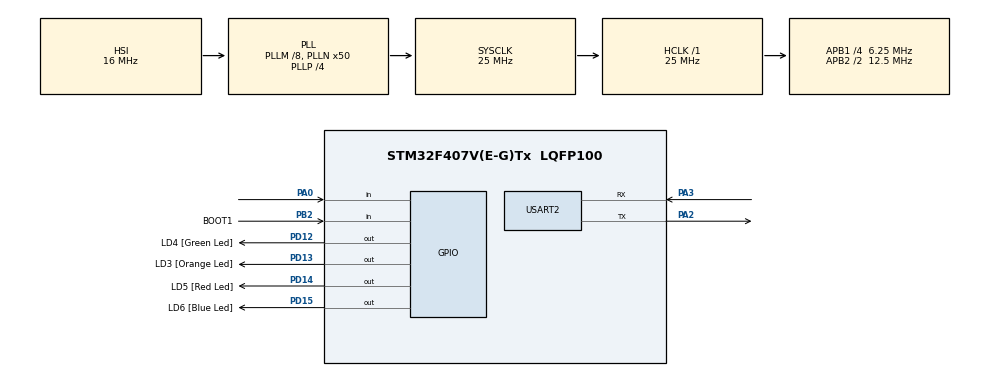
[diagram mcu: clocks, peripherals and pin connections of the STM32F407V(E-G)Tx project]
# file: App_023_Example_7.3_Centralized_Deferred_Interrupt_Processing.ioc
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Mcu.Family=STM32F4
Mcu.Name=STM32F407V(E-G)Tx
Mcu.Package=LQFP100
NVIC.PriorityGroup=NVIC_PRIORITYGROUP_4
NVIC.TIM3_IRQn=true\:6\:0\:true\:false\:true\:true\:true\:true
NVIC.TIM6_DAC_IRQn=true\:0\:0\:false\:false\:true\:false\:true\:true
NVIC.TimeBase=TIM6_DAC_IRQn
NVIC.TimeBaseIP=TIM6
PA0-WKUP.Signal=GPIO_Input
PA13.GPIO_Label=SWDIO
PA13.Signal=SYS_JTMS-SWDIO
PA14.GPIO_Label=SWCLK
PA14.Signal=SYS_JTCK-SWCLK
PA2.Mode=Asynchronous
PA2.Signal=USART2_TX
PA3.Mode=Asynchronous
PA3.Signal=USART2_RX
PB2.GPIO_Label=BOOT1
PB2.GPIO_Mode=GPIO_MODE_INPUT
PB2.GPIO_PuPd=GPIO_NOPULL
PB2.Signal=GPIO_Input
PB3.GPIO_Label=SWO
PB3.Signal=SYS_JTDO-SWO
PC7.GPIO_Label=I2S3_MCK [CS43L22_MCLK]
PC7.GPIO_Mode=GPIO_MODE_AF_PP
PC7.GPIO_PuPd=GPIO_NOPULL
PC7.GPIO_Speed=GPIO_SPEED_FREQ_LOW
PC7.Signal=I2S3_MCK
PD12.GPIO_Label=LD4 [Green Led]
PD12.GPIO_PuPd=GPIO_NOPULL
PD12.GPIO_Speed=GPIO_SPEED_FREQ_LOW
PD12.Signal=GPIO_Output
PD13.GPIO_Label=LD3 [Orange Led]
PD13.GPIO_PuPd=GPIO_NOPULL
PD13.GPIO_Speed=GPIO_SPEED_FREQ_LOW
PD13.Signal=GPIO_Output
PD14.GPIO_Label=LD5 [Red Led]
PD14.GPIO_PuPd=GPIO_NOPULL
PD14.GPIO_Speed=GPIO_SPEED_FREQ_LOW
PD14.Signal=GPIO_Output
PD15.GPIO_Label=LD6 [Blue Led]
PD15.GPIO_PuPd=GPIO_NOPULL
PD15.GPIO_Speed=GPIO_SPEED_FREQ_LOW
PD15.Signal=GPIO_Output
ProjectManager.HeapSize=0x200
ProjectManager.StackSize=0x400
ProjectManager.TargetToolchain=STM32CubeIDE
RCC.48MHZClocksFreq_Value=14285714.285714285
RCC.AHBFreq_Value=25000000
RCC.APB1CLKDivider=RCC_HCLK_DIV4
RCC.APB1Freq_Value=6250000
RCC.APB1TimFreq_Value=12500000
RCC.APB2CLKDivider=RCC_HCLK_DIV2
RCC.APB2Freq_Value=12500000
RCC.APB2TimFreq_Value=25000000
RCC.CortexFreq_Value=25000000
RCC.HCLKFreq_Value=25000000
RCC.HSE_VALUE=8000000
RCC.HSI_VALUE=16000000
RCC.LSE_VALUE=32768
RCC.PLLM=8
RCC.PLLN=50
RCC.PLLP=RCC_PLLP_DIV4
RCC.PLLQ=7
RCC.SYSCLKFreq_VALUE=25000000
RCC.SYSCLKSource=RCC_SYSCLKSOURCE_PLLCLK
RCC.VCOOutputFreq_Value=100000000
TIM3.AutoReloadPreload=TIM_AUTORELOAD_PRELOAD_ENABLE
TIM3.Period=499
TIM3.Prescaler=12499
USART2.VirtualMode=VM_ASYNC
VP_SYS_VS_tim6.Mode=TIM6
VP_TIM3_VS_ClockSourceINT.Mode=Internal
board=STM32F407G-DISC1

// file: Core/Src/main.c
/* USER CODE BEGIN Header */
/**
  ******************************************************************************
  * @file           : main.c
  * @brief          : Main program body
  ******************************************************************************
  * @attention
  *
  * Copyright (c) 2024 STMicroelectronics.
  * All rights reserved.
  *
  * This software is licensed under terms that can be found in the LICENSE file
  * in the root directory of this software component.
  * If no LICENSE file comes with this software, it is provided AS-IS.
  *
  *
  ******************************************************************************
  */

/**
 * @author  Julio Cesar Bernal Mendez
 * @brief   This is the "Example 7.3 Centralized deferred interrupt processing"
 *          from the Mastering the FreeRTOS Real Time Kernel v1.0 book.
 *
 *          This example provides similar funcionality to examples 7.1, but without using a
 *          semaphore and without creating a task specifically to perform the processcing
 *          necessitated by the interrupt. Instead, the processing is performed by the
 *          RTOS daemon task.
 *
 *          The interrupt callback (HAL_TIM_PeriodElapsedCallback) when called by TIM3 calls
 *          xTimerPendFunctionCallFromISR() to pass a pointer to a function called
 *          vDeferredHandlingFunction() to the daemon task.
 *
 *          The callback increments a variable called ulParameterValue each time it executes and
 *          is used as the value of ulParameter2 in the call to xTimerPendFunctionCallFromISR(),
 *          so it will also be used as the value of ulParameter2 in the call to vDeferredHandlingFunction()
 *          when vDeferredHandlingFunction() is executed by the daemon task. The function's other
 *          parameter, pvParameter1, is not used in this example.
 *
 *          The main() function is simpler that the one used by Example 7.1 because it does not create
 *          either a semaphore or a task to perform the deferred interrupt processing.
 *          Only one task is created to start the TIM3 as timeout interrupt, but it only executes once
 *          and deletes itself.
 *          TIM3 starts after the scheduler starts because otherwise the TIM3 timeout interrupt could
 *          execute and call xTimerPendFunctionCallFromISR(), causing an assert to place the program
 *          in an infinite for loop due to the timer queue not being properly created beforehand.
 *
 *          NOTES: - the priority of the interrupt cannot be higher than the configLIBRARY_MAX_SYSCALL_INTERRUPT_PRIORITY
 *                   symbolic constant. In the context of STM32 microcontrollers this can be confusing as
 *                   a higher numeric value means a lower priority. In other words the numeric value of the
 *                   interrupt cannot be lower (higher priority) than configLIBRARY_MAX_SYSCALL_INTERRUPT_PRIORITY and
 *                   not the other way around as one may think.
 *                 - The interrupt controller (NVIC) allows the bits that define each interrupt's
 *                   priority to be split between bits that define the interrupt's pre-emption priority
 *                   bits and bits that define the interrupt's sub-priority. For simplicity all bits
 *                   must be defined to be pre-emption priority bits. If this is not the case then
 *                   an assertion will fail causing the program to get stuck inside an infinite loop.
 *                   (refer to "configASSERT( ( portAIRCR_REG & portPRIORITY_GROUP_MASK ) <= ulMaxPRIGROUPValue )"
 *                   in port.c)
 *
 * @version 0.1
 * @date    2024-11-15
 *
 */
/* USER CODE END Header */
#include "main.h"

/* USER CODE BEGIN Includes */
#include <stdio.h>
#include "FreeRTOS.h"
#include "task.h"
#include "timers.h"
/* USER CODE END Includes */

/* USER CODE BEGIN PD */
#define STRING_SIZE    (50)
/* USER CODE END PD */

TIM_HandleTypeDef htim3;

UART_HandleTypeDef huart2;

/* USER CODE BEGIN PV */
char ucOutputString[ STRING_SIZE ];
/* USER CODE END PV */

void SystemClock_Config(void);
static void MX_GPIO_Init(void);
static void MX_USART2_UART_Init(void);
static void MX_TIM3_Init(void);
/* USER CODE BEGIN PFP */
void UART2_Print_Text( UART_HandleTypeDef *huart, const char *text );

static void vTim3InterruptEnablingTask( void *pvParameter );
static void vDeferredHandlingFunction( void *pvParameter1, uint32_t ulParameter2 );
/* USER CODE END PFP */

int main(void)
{

  /* MCU Configuration--------------------------------------------------------*/

  /* Reset of all peripherals, Initializes the Flash interface and the Systick. */
  HAL_Init();

  /* Configure the system clock */
  SystemClock_Config();

  /* Initialize all configured peripherals */
  MX_GPIO_Init();
  MX_USART2_UART_Init();
  MX_TIM3_Init();
  /* USER CODE BEGIN 2 */
  /* enable CYCCNT (Cycle Count, needed for SEGGER SystemView) in DWT_CTRL register */
  DWT->CTRL |= DWT_CTRL_CYCCNTENA_Msk;

  /* initialize and configure SEGGER SystemView */
  SEGGER_SYSVIEW_Conf();

  /* start recording SEGGER SystemView events */
  SEGGER_SYSVIEW_Start();

  /* Create the task that will start the TIM3 timeout interrupt. This will only
     run once before being deleted by itself since it won't be needed anymore */
  xTaskCreate( vTim3InterruptEnablingTask, "TIM3 INT start", 1000, NULL, 1, NULL );

  /* start the scheduler */
  vTaskStartScheduler();
  /* USER CODE END 2 */

  /* Infinite loop */
  /* USER CODE BEGIN WHILE */

  /* If all is well, main() will not reach here because the scheduler will now
     be running the created tasks.
     If main() does reach here, then there was not enough heap memory to create either
     the idle or timer tasks */
  while (1)
  {
    /* USER CODE END WHILE */

  }
}

void SystemClock_Config(void)
{
  RCC_OscInitTypeDef RCC_OscInitStruct = {0};
  RCC_ClkInitTypeDef RCC_ClkInitStruct = {0};

  /** Configure the main internal regulator output voltage
  */
  __HAL_RCC_PWR_CLK_ENABLE();
  __HAL_PWR_VOLTAGESCALING_CONFIG(PWR_REGULATOR_VOLTAGE_SCALE1);

  /** Initializes the RCC Oscillators according to the specified parameters
  * in the RCC_OscInitTypeDef structure.
  */
  RCC_OscInitStruct.OscillatorType = RCC_OSCILLATORTYPE_HSI;
  RCC_OscInitStruct.HSIState = RCC_HSI_ON;
  RCC_OscInitStruct.HSICalibrationValue = RCC_HSICALIBRATION_DEFAULT;
  RCC_OscInitStruct.PLL.PLLState = RCC_PLL_ON;
  RCC_OscInitStruct.PLL.PLLSource = RCC_PLLSOURCE_HSI;
  RCC_OscInitStruct.PLL.PLLM = 8;
  RCC_OscInitStruct.PLL.PLLN = 50;
  RCC_OscInitStruct.PLL.PLLP = RCC_PLLP_DIV4;
  RCC_OscInitStruct.PLL.PLLQ = 7;
  if (HAL_RCC_OscConfig(&RCC_OscInitStruct) != HAL_OK)
  {
    Error_Handler();
  }

  /** Initializes the CPU, AHB and APB buses clocks
  */
  RCC_ClkInitStruct.ClockType = RCC_CLOCKTYPE_HCLK|RCC_CLOCKTYPE_SYSCLK
                              |RCC_CLOCKTYPE_PCLK1|RCC_CLOCKTYPE_PCLK2;
  RCC_ClkInitStruct.SYSCLKSource = RCC_SYSCLKSOURCE_PLLCLK;
  RCC_ClkInitStruct.AHBCLKDivider = RCC_SYSCLK_DIV1;
  RCC_ClkInitStruct.APB1CLKDivider = RCC_HCLK_DIV4;
  RCC_ClkInitStruct.APB2CLKDivider = RCC_HCLK_DIV2;

  if (HAL_RCC_ClockConfig(&RCC_ClkInitStruct, FLASH_LATENCY_0) != HAL_OK)
  {
    Error_Handler();
  }
}

static void MX_TIM3_Init(void)
{

  TIM_ClockConfigTypeDef sClockSourceConfig = {0};
  TIM_MasterConfigTypeDef sMasterConfig = {0};

  htim3.Instance = TIM3;
  htim3.Init.Prescaler = 12499;
  htim3.Init.CounterMode = TIM_COUNTERMODE_UP;
  htim3.Init.Period = 499;
  htim3.Init.ClockDivision = TIM_CLOCKDIVISION_DIV1;
  htim3.Init.AutoReloadPreload = TIM_AUTORELOAD_PRELOAD_ENABLE;
  if (HAL_TIM_Base_Init(&htim3) != HAL_OK)
  {
    Error_Handler();
  }
  sClockSourceConfig.ClockSource = TIM_CLOCKSOURCE_INTERNAL;
  if (HAL_TIM_ConfigClockSource(&htim3, &sClockSourceConfig) != HAL_OK)
  {
    Error_Handler();
  }
  sMasterConfig.MasterOutputTrigger = TIM_TRGO_RESET;
  sMasterConfig.MasterSlaveMode = TIM_MASTERSLAVEMODE_DISABLE;
  if (HAL_TIMEx_MasterConfigSynchronization(&htim3, &sMasterConfig) != HAL_OK)
  {
    Error_Handler();
  }

}

static void MX_USART2_UART_Init(void)
{

  huart2.Instance = USART2;
  huart2.Init.BaudRate = 115200;
  huart2.Init.WordLength = UART_WORDLENGTH_8B;
  huart2.Init.StopBits = UART_STOPBITS_1;
  huart2.Init.Parity = UART_PARITY_NONE;
  huart2.Init.Mode = UART_MODE_TX_RX;
  huart2.Init.HwFlowCtl = UART_HWCONTROL_NONE;
  huart2.Init.OverSampling = UART_OVERSAMPLING_16;
  if (HAL_UART_Init(&huart2) != HAL_OK)
  {
    Error_Handler();
  }

}

static void MX_GPIO_Init(void)
{
  GPIO_InitTypeDef GPIO_InitStruct = {0};

  /* GPIO Ports Clock Enable */
  __HAL_RCC_GPIOA_CLK_ENABLE();
  __HAL_RCC_GPIOB_CLK_ENABLE();
  __HAL_RCC_GPIOD_CLK_ENABLE();
  __HAL_RCC_GPIOC_CLK_ENABLE();

  /*Configure GPIO pin Output Level */
  HAL_GPIO_WritePin(GPIOD, LD4_Pin|LD3_Pin|LD5_Pin|LD6_Pin, GPIO_PIN_RESET);

  /*Configure GPIO pin : PA0 */
  GPIO_InitStruct.Pin = GPIO_PIN_0;
  GPIO_InitStruct.Mode = GPIO_MODE_INPUT;
  GPIO_InitStruct.Pull = GPIO_NOPULL;
  HAL_GPIO_Init(GPIOA, &GPIO_InitStruct);

  /*Configure GPIO pin : BOOT1_Pin */
  GPIO_InitStruct.Pin = BOOT1_Pin;
  GPIO_InitStruct.Mode = GPIO_MODE_INPUT;
  GPIO_InitStruct.Pull = GPIO_NOPULL;
  HAL_GPIO_Init(BOOT1_GPIO_Port, &GPIO_InitStruct);

  /*Configure GPIO pins : LD4_Pin LD3_Pin LD5_Pin LD6_Pin */
  GPIO_InitStruct.Pin = LD4_Pin|LD3_Pin|LD5_Pin|LD6_Pin;
  GPIO_InitStruct.Mode = GPIO_MODE_OUTPUT_PP;
  GPIO_InitStruct.Pull = GPIO_NOPULL;
  GPIO_InitStruct.Speed = GPIO_SPEED_FREQ_LOW;
  HAL_GPIO_Init(GPIOD, &GPIO_InitStruct);

  /*Configure GPIO pin : I2S3_MCK_Pin */
  GPIO_InitStruct.Pin = I2S3_MCK_Pin;
  GPIO_InitStruct.Mode = GPIO_MODE_AF_PP;
  GPIO_InitStruct.Pull = GPIO_NOPULL;
  GPIO_InitStruct.Speed = GPIO_SPEED_FREQ_LOW;
  GPIO_InitStruct.Alternate = GPIO_AF6_SPI3;
  HAL_GPIO_Init(I2S3_MCK_GPIO_Port, &GPIO_InitStruct);

}

/* USER CODE BEGIN 4 */
void UART2_Print_Text( UART_HandleTypeDef *huart, const char *text )
{
  uint8_t character;

  /* loop through the string until null character found */
  for ( character = 0; text[ character ] != '\0'; character++ )
  {
    /* transmit current character over UART */
    HAL_UART_Transmit( huart, ( const uint8_t* ) &text[ character ], 1, 5000 );
  }
}

static void vTim3InterruptEnablingTask( void *pvParameter )
{
  /* Start the TIM3 in interrupt mode.
     This is done in a task after the scheduler is started because otherwise
     the TIM3 timeout would be triggered and then its callback would try to defer the
     processing to the daemon task before the scheduler started, causing an assertion
     due to the timer queue not being properly created */
  HAL_TIM_Base_Start_IT( &htim3 );

  /* delete this task as it will be only required to run once at the beginning */
  vTaskDelete( NULL );
}

static void vDeferredHandlingFunction( void *pvParameter1, uint32_t ulParameter2 )
{
  /* Process the event, in this case just print out a message and the value of ulParameter2.
     pvParameter1 is not used in this example */
  ( void ) snprintf( ucOutputString, STRING_SIZE, "Handler function - Processing event %lu\n\n\r", ulParameter2 );
  UART2_Print_Text( &huart2, ( const char * ) ucOutputString );
}
/* USER CODE END 4 */

void HAL_TIM_PeriodElapsedCallback(TIM_HandleTypeDef *htim)
{
  /* USER CODE BEGIN Callback 0 */
  /* variable that will hold the number of times the TIM3 timeout
     interrupt has occurred */
  static uint32_t ulParameterValue = 0;

  /* variable used only when TIM3 interrupt is triggered */
  BaseType_t xHigherPriorityTaskWoken;

  /* The xHigherPriorityTaskWoken parameter must be initialized to pdFALSE
     as it will get set to pdTRUE inside the interrupt safe API function
     if a context switch is required */
  xHigherPriorityTaskWoken = pdFALSE;

  if ( htim->Instance == TIM3 )
  {
    /* used for debugging purposes (check TIM3 period via a logic analyzer) */
    HAL_GPIO_TogglePin( GPIOD, GPIO_PIN_12 );

    /* print out a message */
    UART2_Print_Text( &huart2, "ISR Handler - About to defer processing to the Daemon task.\r\n" );

    /* - Send a pointer to the interrupt's deferred handling function to the daemon task:
       - The deferred handling function's pvParameter1 parameter is not used so it's just set to NULL.
       - The deferred handling function's ulParameter2 parameter is used to pass a number that is
         incremented by one each time this TIM3 timeout interrupt handler executes */
    xTimerPendFunctionCallFromISR(  vDeferredHandlingFunction, /* function to be executed by the daemon task */
                                    NULL,             /* pvParameter is not used */
                                    ulParameterValue, /* ulParameter2 used as the incrementing value */
                                    &xHigherPriorityTaskWoken  /* context switch flag updated by this FromISR() API */
                                 );

    /* increment the TIM3 timeout interrupt counter */
    ulParameterValue++;

    /* Pass the xHigherPriorityTaskWoken value into portYIELD_FROM_ISR():
       - If xHigherPriorityTaskWoken was set to pdTRUE inside xTimerPendFunctionCallFromISR(),
         then calling portYIELD_FROM_ISR() will request a context switch.
       - If xHigherPriorityTaskWoken is still pdFALSE then calling portYIELD_FROM_ISR()
         will have no effect */
    portYIELD_FROM_ISR( xHigherPriorityTaskWoken );
  }
  /* USER CODE END Callback 0 */
  if (htim->Instance == TIM6) {
    HAL_IncTick();
  }
}

void Error_Handler(void)
{
  __disable_irq();
  while (1)
  {
  }
}
